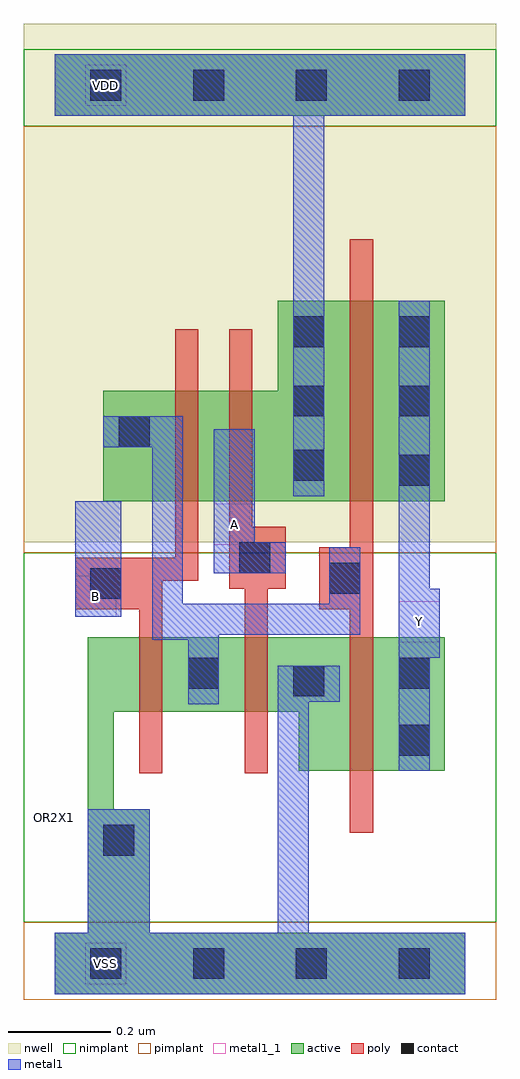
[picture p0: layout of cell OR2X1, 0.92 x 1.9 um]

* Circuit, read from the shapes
.subckt OR2X1 A B VDD VSS Y
M1 n1 B VSS VSS nfet w=0.145u l=0.045u
M2 VSS A n1 VSS nfet w=0.145u l=0.045u
M3 Y n1 VSS VSS nfet w=0.26u l=0.045u
M4 n2 B n1 VDD pfet w=0.215u l=0.045u
M5 VDD A n2 VDD pfet w=0.215u l=0.045u
M6 Y n1 VDD VDD pfet w=0.39u l=0.045u
.ends

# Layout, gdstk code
import gdstk
lib = gdstk.Library(unit=1e-6, precision=5e-10)
def R(c, l, rs):  # rectangles x0, y0, x1, y1
    for r in rs: c.add(gdstk.rectangle(r[:2], r[2:], *l))
def A(c, l, x, y, w, h, nx, ny, dx, dy):  # array of equal rectangles
    R(c, l, [(x+i*dx, y+j*dy, x+i*dx+w, y+j*dy+h) for i in range(nx) for j in range(ny)])
def P(c, l, *ps):  # polygons
    for p in ps: c.add(gdstk.Polygon(p, *l))
active = (1, 0)
nwell = (2, 0)
poly = (3, 0)
nimplant = (4, 0)
pimplant = (5, 0)
contact = (6, 0)
metal1 = (7, 0)
metal1_1 = (7, 1)

or2x1 = lib.new_cell('OR2X1')
R(or2x1, active, [(0,1.65,0.8,1.77)])
P(or2x1, active, [(0.8,0.06),(0.185,0.06),(0.185,0.3),(0.115,0.3),(0.115,0.49),(0.475,0.49),(0.475,0.375),(0.76,0.375),(0.76,0.635),(0.065,0.635),(0.065,0.06),(0,0.06),(0,-0.06),(0.8,-0.06)],
  [(0.76,1.29),(0.435,1.29),(0.435,1.115),(0.095,1.115),(0.095,0.9),(0.76,0.9)])
R(or2x1, nwell, [(-0.06,0.82,0.86,1.83)])
P(or2x1, poly, [(0.45,0.85),(0.385,0.85),(0.385,1.235),(0.34,1.235),(0.34,0.73),(0.37,0.73),(0.37,0.37),(0.415,0.37),(0.415,0.73),(0.45,0.73)],
  [(0.28,1.235),(0.235,1.235),(0.235,0.79),(0.04,0.79),(0.04,0.69),(0.165,0.69),(0.165,0.37),(0.21,0.37),(0.21,0.745),(0.28,0.745)],
  [(0.62,1.41),(0.575,1.41),(0.575,0.81),(0.515,0.81),(0.515,0.69),(0.575,0.69),(0.575,0.255),(0.62,0.255)])
R(or2x1, nimplant, [(-0.06,0.08,0.86,0.8), (-0.06,1.63,0.86,1.78)])
R(or2x1, pimplant, [(-0.06,-0.07,0.86,0.08), (-0.06,0.8,0.86,1.63)])
A(or2x1, contact, 0.07, -0.03, 0.06, 0.06, 4, 2, 0.2, 1.71)
A(or2x1, contact, 0.67, 0.93, 0.06, 0.06, 1, 3, 0, 0.135)
R(or2x1, contact, [(0.095,0.21,0.155,0.27), (0.67,0.405,0.73,0.465), (0.465,0.52,0.525,0.58), (0.26,0.535,0.32,0.595), (0.67,0.535,0.73,0.595), (0.07,0.71,0.13,0.77), (0.535,0.72,0.595,0.78), (0.36,0.76,0.42,0.82), (0.465,0.94,0.525,1), (0.125,1.005,0.185,1.065), (0.465,1.065,0.525,1.125), (0.465,1.2,0.525,1.26)])
R(or2x1, metal1, [(0.04,0.675,0.13,0.9)])
P(or2x1, metal1, [(0.8,0.06),(0.495,0.06),(0.495,0.51),(0.555,0.51),(0.555,0.58),(0.435,0.58),(0.435,0.06),(0.185,0.06),(0.185,0.3),(0.065,0.3),(0.065,0.06),(0,0.06),(0,-0.06),(0.8,-0.06)],
  [(0.8,1.77),(0,1.77),(0,1.65),(0.465,1.65),(0.465,0.91),(0.525,0.91),(0.525,1.65),(0.8,1.65)],
  [(0.75,0.73),(0.73,0.73),(0.73,1.29),(0.67,1.29),(0.67,0.375),(0.73,0.375),(0.73,0.595),(0.75,0.595)],
  [(0.595,0.81),(0.535,0.81),(0.535,0.7),(0.25,0.7),(0.25,1.065),(0.095,1.065),(0.095,1.005),(0.19,1.005),(0.19,0.63),(0.26,0.63),(0.26,0.505),(0.32,0.505),(0.32,0.64),(0.595,0.64)],
  [(0.45,0.82),(0.39,0.82),(0.39,1.04),(0.31,1.04),(0.31,0.76),(0.45,0.76)])
R(or2x1, metal1_1, [(0.06,-0.04,0.14,0.04), (0.67,0.625,0.75,0.705), (0.04,0.675,0.12,0.755), (0.31,0.815,0.39,0.895), (0.06,1.67,0.14,1.75)])
or2x1.add(gdstk.Label('Y', (0.71,0.665), layer=7, texttype=1))
or2x1.add(gdstk.Label('A', (0.35,0.855), layer=7, texttype=1))
or2x1.add(gdstk.Label('B', (0.08,0.715), layer=7, texttype=1))
or2x1.add(gdstk.Label('VDD', (0.1,1.71), layer=7, texttype=1))
or2x1.add(gdstk.Label('VSS', (0.1,0), layer=7, texttype=1))
or2x1.add(gdstk.Label('OR2X1', (0,0.285), layer=63, texttype=0))

lib.write_gds('OR2X1.gds')
